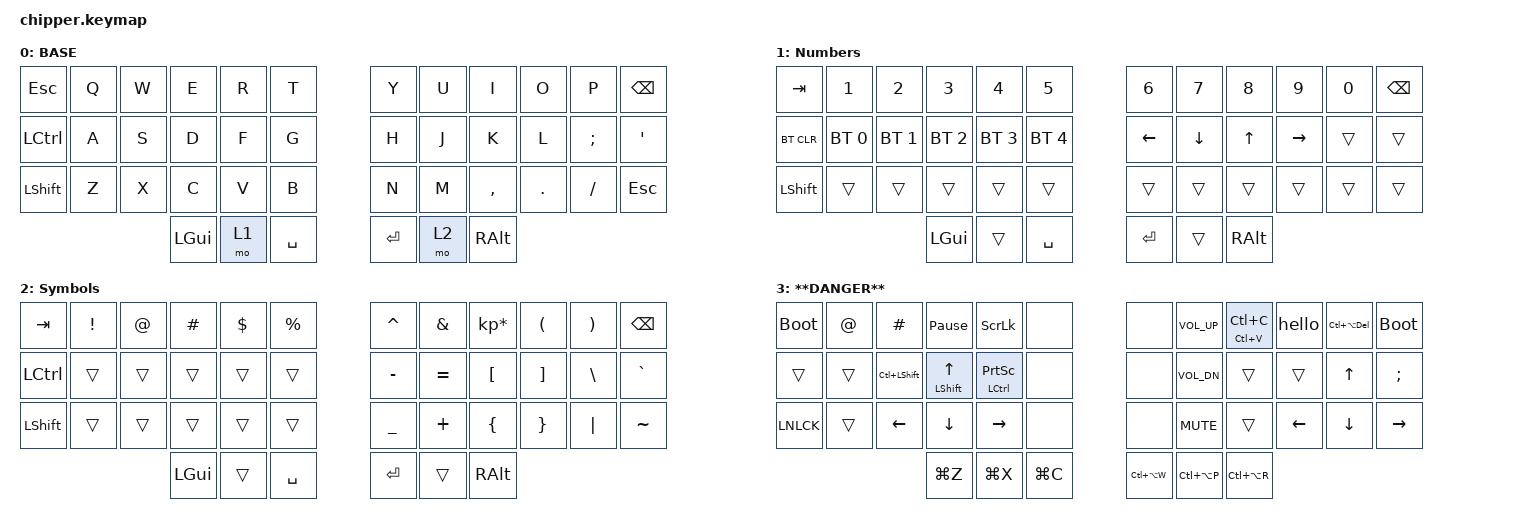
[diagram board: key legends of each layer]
/*
 * Copyright (c) 2020 The ZMK Contributors
 *
 * SPDX-License-Identifier: MIT
 */

#include <behaviors.dtsi>
#include <dt-bindings/zmk/keys.h>
#include <dt-bindings/zmk/bt.h>
#include <dt-bindings/zmk/outputs.h>

#define COMBO_TIMEOUT 60

#define DEFAULT 0
#define LOWER   1
#define RAISE   2
#define DANGER  3

/ {
    macros {
	hello: hello {
            label = "hello";
            compatible = "zmk,behavior-macro";
            #binding-cells = <0>;
            bindings
                = <&macro_tap_time 10>
		,<&macro_tap &kp H &kp E &kp L &kp L &kp O>
                ;
        };
    };
};


/ {
    combos {
        compatible = "zmk,combos";
 	 combo_del {
            timeout-ms = <COMBO_TIMEOUT>;
            key-positions = <11 12 13>;
            bindings = <&mt RALT DEL>;
        };
	 combo_cw {
            timeout-ms = <COMBO_TIMEOUT>;
            key-positions = <2 3 4>;
            bindings = <&caps_word>;
        };
	 combo_tab {
            timeout-ms = <COMBO_TIMEOUT>;
            key-positions = <10 11 12>;
            bindings = <&mt K_CONTEXT_MENU TAB>;
        };
	 combo_row {
            timeout-ms = <COMBO_TIMEOUT>;
            key-positions = <12 13 14>;
            bindings = <&kp LS(HOME)>;
        };
	 combo_esc {
            timeout-ms = <COMBO_TIMEOUT>;
            key-positions = <0 1 2>;
            bindings = <&kp ESC>;
	 };
	 combo_ctlbksp {
            timeout-ms = <COMBO_TIMEOUT>;
            key-positions = <6 7 8>;
            bindings = <&kp LC(BSPC)>;
        };
	 combo_bksp {
            timeout-ms = <COMBO_TIMEOUT>;
            key-positions = <16 17 18>;
            bindings = <&kp BSPC>;
        };
    };
};

&caps_word {
	continue-list = <UNDERSCORE MINUS BACKSPACE DELETE HOME END LEFT RIGHT>;
};

&kscan0 {
	debounce-period = <20>;
	};

/ {
	behaviors {

        bh: layer_taps
		{
			compatible = "zmk,behavior-hold-tap";
			label = "Layer-Tap";
			#binding-cells = <2>;
			tapping_term_ms = <215>;
            flavor = "tap-preferred";
			bindings = <&mo>, <&kp>;
        };

        hm: homerow_mods {
            compatible = "zmk,behavior-hold-tap";
            label = "HOMEROW_MODS";
            #binding-cells = <2>;
            tapping-term-ms = <170>;
            quick_tap_ms = <0>;
            flavor = "tap-preferred";
            bindings = <&kp>, <&kp>;
        };
		sm: shift_mods {
            compatible = "zmk,behavior-hold-tap";
            label = "SHIFT_MODS";
            #binding-cells = <2>;
            tapping-term-ms = <170>;
            quick_tap_ms = <0>;
            flavor = "hold-preferred";
            bindings = <&kp>, <&kp>;
        };
     };
   };

/ {
        keymap {
                compatible = "zmk,keymap";

                default_layer {
    // -----------------------------------------------------------------------------------------
    // |  TAB |  Q  |  W  |  E  |  R  |  T  |   |  Y  |  U   |  I  |  O  |  P  | BKSP |
    // | CTRL |  A  |  S  |  D  |  F  |  G  |   |  H  |  J   |  K  |  L  |  ;  |  '   |
    // | SHFT |  Z  |  X  |  C  |  V  |  B  |   |  N  |  M   |  ,  |  .  |  /  | ESC  |
    //                    | GUI | LWR | SPC |   | ENT | RSE  | ALT |

            bindings = <
    &kp ESCAPE  &kp Q  &kp W  &kp E     &kp R  &kp T        &kp Y    &kp U  &kp I      &kp O    &kp P     &kp BSPC
    &kp LCTRL   &kp A  &kp S  &kp D     &kp F  &kp G        &kp H    &kp J  &kp K      &kp L    &kp SEMI  &kp SQT
    &kp LSHFT   &kp Z  &kp X  &kp C     &kp V  &kp B        &kp N    &kp M  &kp COMMA  &kp DOT  &kp FSLH  &kp ESC
                              &kp LGUI  &mo 1  &kp SPACE    &kp RET  &mo 2  &kp RALT
                        >;
		label = "BASE";
                };
        lower_layer {
    // -----------------------------------------------------------------------------------------
    // |  TAB |  1  |  2  |  3  |  4  |  5  |   |  6  |  7  |  8  |  9  |  0  | BKSP |
    // | BTCLR| BT1 | BT2 | BT3 | BT4 | BT5 |   | LFT | DWN |  UP | RGT |     |      |
    // | SHFT |     |     |     |     |     |   |     |     |     |     |     |      |
    //                    | GUI |     | SPC |   | ENT |     | ALT |

            bindings = <
    &kp TAB     &kp N1        &kp N2        &kp N3        &kp N4        &kp N5          &kp N6    &kp N7    &kp N8    &kp N9     &kp N0  &kp BSPC
    &bt BT_CLR  &bt BT_SEL 0  &bt BT_SEL 1  &bt BT_SEL 2  &bt BT_SEL 3  &bt BT_SEL 4    &kp LEFT  &kp DOWN  &kp UP    &kp RIGHT  &trans  &trans
    &kp LSHFT   &trans        &trans        &trans        &trans        &trans          &trans    &trans    &trans    &trans     &trans  &trans
                                            &kp LGUI      &trans        &kp SPACE       &kp RET   &trans    &kp RALT
            >;
            label = "Numbers";
        };

        raise_layer {
    // -----------------------------------------------------------------------------------------
    // |  TAB |  !  |  @  |  #  |  $  |  %  |   |  ^  |  &  |  *  |  (  |  )  | BKSP |
    // | CTRL |     |     |     |     |     |   |  -  |  =  |  [  |  ]  |  \  |  `   |
    // | SHFT |     |     |     |     |     |   |  _  |  +  |  {  |  }  | "|" |  ~   |
    //                    | GUI |     | SPC |   | ENT |     | ALT |

            bindings = <
    &kp TAB    &kp EXCL  &kp AT  &kp HASH  &kp DLLR  &kp PRCNT    &kp CARET  &kp AMPS   &kp KP_MULTIPLY  &kp LPAR  &kp RPAR  &kp BSPC
    &kp LCTRL  &trans    &trans  &trans    &trans    &trans       &kp MINUS  &kp EQUAL  &kp LBKT         &kp RBKT  &kp BSLH  &kp GRAVE
    &kp LSHFT  &trans    &trans  &trans    &trans    &trans       &kp UNDER  &kp PLUS   &kp LBRC         &kp RBRC  &kp PIPE  &kp TILDE
                             &kp LGUI  &trans    &kp SPACE    &kp RET    &trans     &kp RALT
                        >;
		label = "Symbols";
		};

		danger_layer {

                        bindings = <
   &bootloader &kp AT &kp HASH      &kp PAUSE_BREAK &kp SLCK        &none      &none         &kp C_VOL_UP  &hm LC(V) LC(C) &hello   &kp LC(LA(DEL)) &bootloader
   &trans      &trans &kp LC(LSHFT) &mt LSHFT UP    &mt LCTRL PSCRN &none      &none         &kp C_VOL_DN  &trans          &trans   &kp UP          &kp SEMI
   &kp LNLCK   &trans &kp LEFT      &kp DOWN        &kp RIGHT       &none      &none         &kp C_MUTE    &trans          &kp LEFT &kp DOWN        &kp RIGHT
        	                    &kp LG(Z)       &kp LG(X)       &kp LG(C)  &kp LC(LA(W)) &kp LC(LA(P)) &kp LC(LA(R))
                        >;
                label = "**DANGER**";
		};
        };
};
